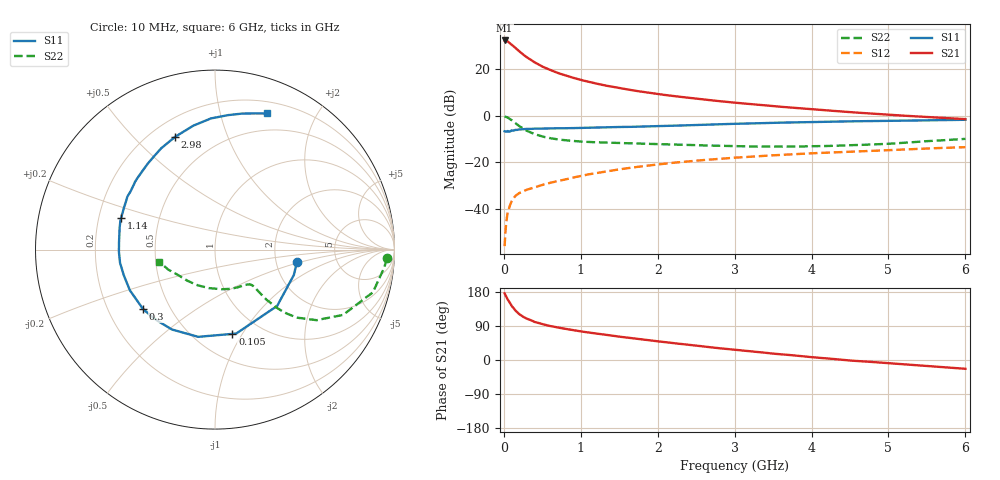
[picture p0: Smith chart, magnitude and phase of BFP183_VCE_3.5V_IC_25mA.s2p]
! Infineon Technologies  Discrete & RF Semiconductors
! BFP183
! VCE = 3.5 V,  IC =  25 mA
! Common Emitter S-Parameters:  Jan 2016
# GHz  S  MA  R  50
!  f  S11  S21  S12  S22
! GHz  MAG  ANG  MAG  ANG  MAG  ANG  MAG  ANG
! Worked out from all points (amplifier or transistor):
!   210 points, 10 MHz to 6 GHz, reference 50 ohm
!   highest |S21| = 32.2 dB at 10 MHz (marker M1)
!   |S21| within 3 dB of that: start of sweep to 144.1 MHz
!   unconditionally stable (mu >= 1): 699.5 MHz to 5.709 GHz
!   at 185 MHz: K = 0.43, MSG = 30.8 dB, |S12| = -33.5 dB
!   at 1.52 GHz: K = 1.15, MAG = 15.0 dB, |S12| = -22.9 dB
!   at 6 GHz: K = 0.96, MSG = 6.0 dB, |S12| = -13.5 dB
!   S11 on the Smith chart (normalised r, x): 10 MHz: 2.62, -0.47; 105 MHz: 0.74, -0.91; 300 MHz: 0.35, -0.32; 1.14 GHz: 0.30, +0.15; 2.98 GHz: 0.29, +0.66; 6 GHz: 0.31, +1.41
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0.01  0.462 -8.7  40.6 175.7  0.0016 85.3  0.96 -2.9
0.02  0.4614 -17.9  40.49 171.8  0.0031 88.1  0.9479 -6.1
0.05  0.4674 -42.2  38.77 159.6  0.0084 78.3  0.9115 -15.1
0.1  0.4824 -75.8  33.32 143.0  0.0145 63.0  0.8009 -27.0
0.105  0.4794 -78.3  32.75 141.9  0.0149 62.2  0.7892 -27.7
0.15  0.495 -100.9  28.22 130.3  0.0191 56.4  0.6894 -34.8
0.2  0.5056 -118.3  23.85 121.0  0.0219 53.4  0.5966 -39.5
0.24  0.5092 -128.2  20.98 115.6  0.0234 51.9  0.5411 -41.5
0.26  0.5126 -132.6  19.76 113.1  0.0242 51.2  0.5163 -42.3
0.3  0.5199 -140.6  17.66 108.9  0.026 50.1  0.472 -43.3
0.4  0.5257 -154.4  13.8 100.4  0.0289 51.0  0.3997 -44.2
0.5  0.528 -164.4  11.23 94.6  0.0328 51.1  0.3562 -44.1
0.7  0.5355 -178.6  8.164 85.7  0.0393 54.0  0.309 -43.5
1.02  0.5464 166.0  5.695 74.9  0.0517 55.6  0.277 -44.6
1.14  0.552 161.4  5.115 71.5  0.0565 55.4  0.2707 -45.6
1.5  0.5704 148.9  3.889 61.6  0.0706 54.6  0.2582 -49.9
2.02  0.5949 133.2  2.862 48.9  0.0905 51.3  0.2452 -59.2
2.98  0.6649 109.8  1.907 27.4  0.1247 43.0  0.2215 -83.3
3.1  0.672 107.4  1.829 25.2  0.1285 41.8  0.2191 -86.9
4.1  0.7345 90.3  1.331 5.9  0.1583 32.7  0.2218 -119.0
5.1  0.7757 77.7  1.019 -9.9  0.1847 25.0  0.255 -147.7
6  0.8129 69.0  0.841 -23.2  0.2106 16.6  0.3173 -167.7
